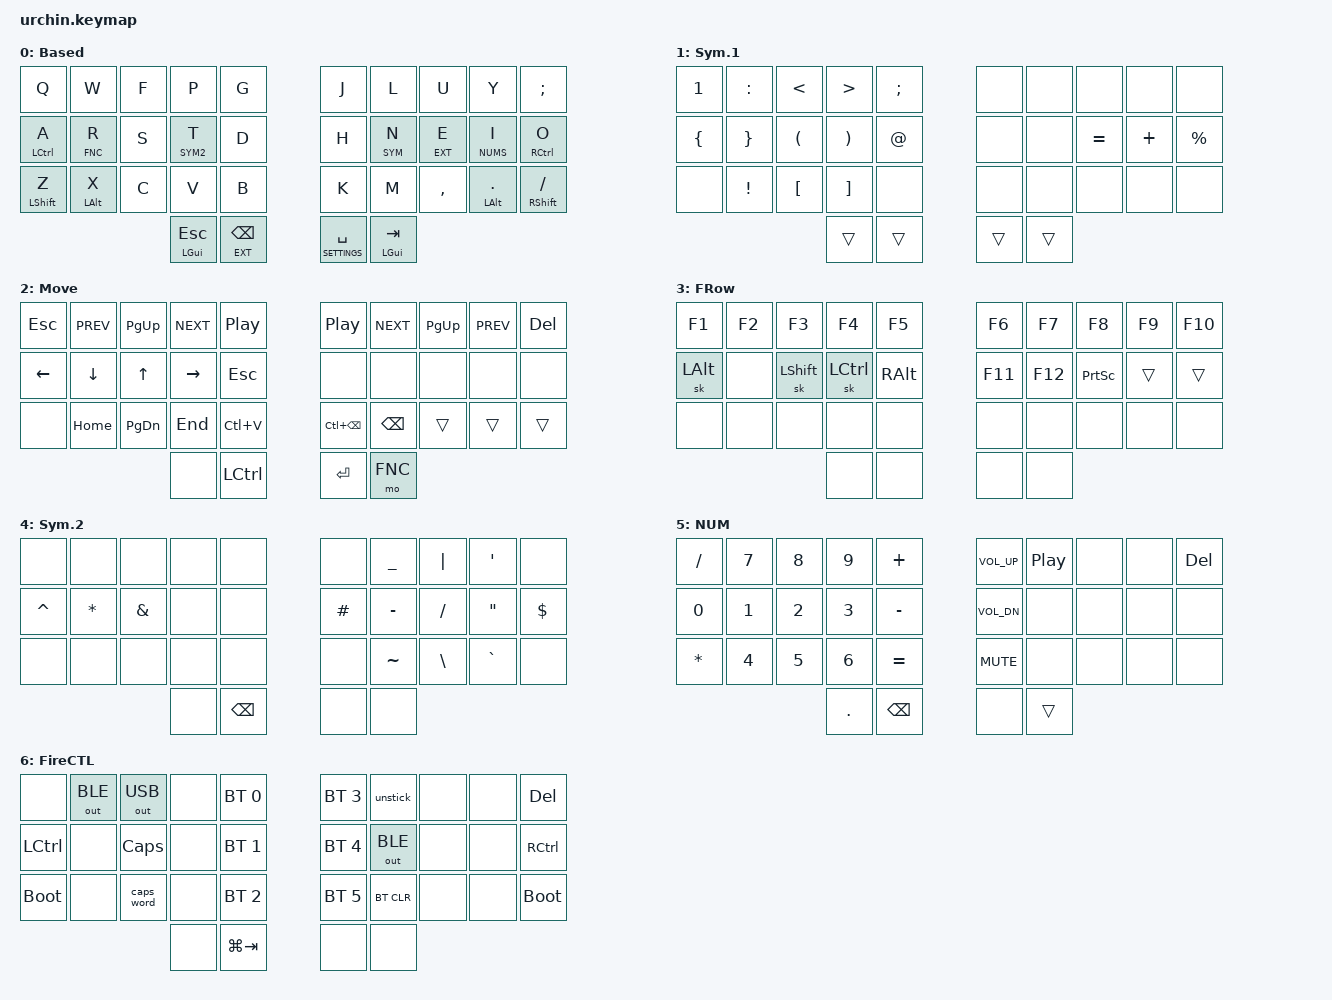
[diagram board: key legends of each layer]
/*
 * Copyright (c) 2020 duckyb
 *
 * SPDX-License-Identifier: MIT
 */

#include <behaviors.dtsi>
#include <dt-bindings/zmk/keys.h>
#include <dt-bindings/zmk/bt.h>
#include <dt-bindings/zmk/outputs.h>
#include "keymap_italian.h"

// Layer definitions
#define BASE 0
#define SYM 1
#define EXT 2
#define FNC 3
#define SYM2 4
#define NUMS 5
#define SETTINGS 6
// -----------------

&sk {
	// don't release mods on other mods presses
	ignore-modifiers;
};


/ {
	behaviors {
		// Enables holding the first mod-tap key
		// by performing a tap-release-hold sequence.
		// To use it: "&qt KEYCODE1 KEYCODE2"
		qt: quick_tap {
			compatible = "zmk,behavior-hold-tap";
			label = "QUICK_TAP";
			#binding-cells = <2>;
			flavor = "hold-preferred";
			tapping-term-ms = <190>;
			quick-tap-ms = <185>;
			bindings = <&kp>, <&kp>;
		};
			gqt: global-quick-tap {
				compatible = "zmk,behavior-hold-tap";
				label = "GLOBAL_QUICK_TAP";
				#binding-cells = <2>;
				flavor = "tap-preferred";
				tapping-term-ms = <175>;
				quick-tap-ms = <175>;
				global-quick-tap;
				bindings = <&mo>, <&kp>;
			};
	};

	macros {
		// sometimes my device thinks a modifier is being held down
		// pressing all modifiers fixes it.
		unstick: unstick {
			label = "ZM_unstick";
			compatible = "zmk,behavior-macro";
			#binding-cells = <0>;
			bindings = <&kp LSHIFT &kp RSHIFT &kp LCTRL &kp RCTRL &kp LALT &kp RALT &kp LGUI &kp RGUI>;
		};
	};

	combos {
		compatible = "zmk,combos";
		// both right thumb keys
		combo_number {
			timeout-ms = <200>;
			key-positions = <32 33>;
			bindings = <&mo NUMS>;
		};
		// internal-left & external-right thumb keys
		combo_sym2 {
			timeout-ms = <200>;
			key-positions = <31 33>;
			bindings = <&mo SYM2>;
		};
		// both left thumb keys
		combo_settings {
			timeout-ms = <200>;
			key-positions = <30 31>;
			bindings = <&mo SETTINGS>;
		};
		// left index & middle fingers (home-row)
		// hold control & space for Adobe workflow
		combo_ctrl_space {
			timeout-ms = <200>;
			key-positions = <12 13>;
			bindings = <&kp LC(SPACE)>;
			layers = <BASE>;
		};
		combo_shift_4 {
			timeout-ms = <200>;
			key-positions = <12 13>;
			bindings = <&kp LG(LS(4))>;
			layers = <BASE>;
		};
		combo_ctrl_shift {
			timeout-ms = <200>;
			key-positions = <16 17>;
			bindings = <&kp LC(LSHIFT)>;
			layers = <BASE>;
		};
		combo_cmd_mac{
			timeout-ms = <200>;
			key-positions = <17 18>;
			bindings = <&kp LGUI>;
			layers = <BASE>;
		};
	};

	keymap {
		compatible = "zmk,keymap";
		// Base alpha layer
		default_layer {
			label = "Based";
			bindings = <
			&kp Q 			&kp W &kp F &kp P 		&kp G      			&kp J &kp L  		&kp U     	&kp Y   	&kp SEMI 
			&mt LCTRL A 	&lt FNC R &kp S &lt SYM2 T 	&kp D           	&kp H &lt SYM N  	&lt EXT E  	&lt NUMS I  &mt RCTRL O
			&mt LSHIFT Z 	&mt LALT X &kp C &kp V 		&kp B          		&kp K &kp M  		&kp COMMA 	&mt LALT DOT 	&mt RSHIFT SLASH
										&mt LGUI ESC	&gqt EXT BACKSPACE  	&lt SETTINGS SPACE &mt LGUI TAB
			>;
		};

		// Numbers and high frequency symbols
		sym_layer {
			label = "Sym.1";
			bindings = <
			&kp N1 	 &kp COLON 	&kp LT 	 &kp GT   &kp SEMI            &none &none &none 	&none 	 &none
			&kp LBRC &kp RBRC 	&kp LPAR &kp RPAR &kp AT    		  &none &none &kp EQUAL &kp PLUS &kp PERCENT
			&none 	 &kp EXCL 	&kp LBKT &kp RBKT &none 			  &none &none &none  	&none  	 &none
											&trans  &trans       &trans &trans 
			>;
		};

		// Main modifiers and arrow keys
		ext_layer {
			label = "Move";
			bindings = <
			&kp ESC  &kp C_PREV &kp PG_UP  &kp C_NEXT  &kp C_PP    	&kp C_PP  &kp C_NEXT &kp PG_UP &kp C_PREV &kp DEL
			&kp LEFT &kp DOWN  &kp UP  &kp RIGHT  &kp ESC 			 &none &none &none &none &none
			&none  &kp HOME &kp PG_DN &kp END   &kp LC(V)          &kp LC(BSPC) &kp BSPC &trans &trans  &trans
												&none &kp LCTRL    &kp ENTER  &mo FNC 
			>;
		};

		// Function keys with modifiers
		fnc_layer {
			label = "FRow";
			bindings = <
			&kp F1 &kp F2 &kp F3 &kp F4 &kp F5                  &kp F6 &kp F7 &kp F8 &kp F9 &kp F10 
			&sk LALT &none &sk LSHIFT &sk LCTRL &kp RALT     &kp F11 &kp F12  &kp PRINTSCREEN &trans &trans
			&none &none &none &none &none				          &none &none &none &none &none 
							  &none &none              &none &none  
			>;
		};

		// Low frequency symbols.
		symbols_2_layer {
			label = "Sym.2";
			bindings = <
			&none &none &none &none  &none         				&none &kp UNDERSCORE &kp PIPE 	&kp SQT 	&none 
			&kp CARET &kp STAR &kp AMPS &none &none    	    &kp HASH &kp MINUS 	 &kp SLASH 	&kp DQT 	&kp DOLLAR
			&none &none &none &none  &none				  		&none &kp TILDE  	 &kp BSLH 	&kp GRAVE 	&none
											&none &kp BACKSPACE        	&none &none 
			>;
		};  

		// Numpad for mow
		number_layer {
			label = "NUM";
			bindings = <
			&kp SLASH	&kp N7 		&kp N8  	&kp N9 	&kp PLUS                 &kp C_VOL_UP 	&kp C_PP 	&none &none &kp DELETE 
			&kp N0  	&kp N1  	&kp N2  	&kp N3  &kp MINUS                &kp C_VOL_DN  	&none 		&none &none &none
			&kp STAR 	&kp N4 		&kp N5 		&kp N6 	&kp EQUAL                &kp C_MUTE     &none   &none &none &none
														&kp DOT &kp BSPC                        &none &trans 
			>;
		};

		// Used to change the keyboard's settings.
		settings_layer {
				label = "FireCTL";
				bindings = <
				&none &out OUT_BLE &out OUT_USB &none &bt BT_SEL 0                 		 	&bt BT_SEL 3 &unstick &none &none &kp DELETE
				&kp LCTRL &none &kp CAPS &none      &bt BT_SEL 1 					&bt BT_SEL 4 &out OUT_BLE &none &none &kp RCTRL
				&bootloader &none &caps_word &none      &bt BT_SEL 2                 			&bt BT_SEL 5 &bt BT_CLR &none &none &bootloader
										&none &kp LG(TAB)                       &none &none 
				>;
		};
	};
};
